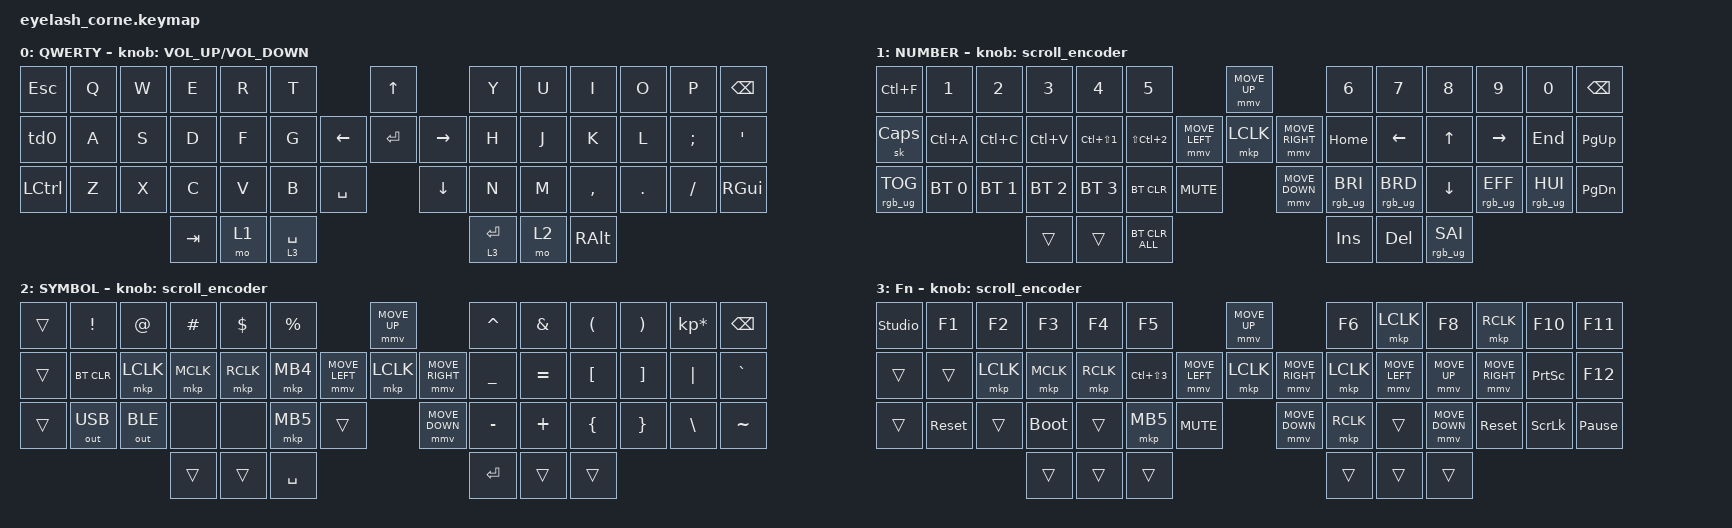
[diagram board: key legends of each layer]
#define ZMK_POINTING_DEFAULT_MOVE_VAL 1200  // 600
#define ZMK_POINTING_DEFAULT_SCRL_VAL 25   // 10

#include <input/processors.dtsi>
#include <zephyr/dt-bindings/input/input-event-codes.h>
#include <behaviors.dtsi>
#include <dt-bindings/zmk/bt.h>
#include <dt-bindings/zmk/keys.h>
#include <dt-bindings/zmk/outputs.h>
#include <dt-bindings/zmk/pointing.h>
#include <dt-bindings/zmk/rgb.h>

&mmv_input_listener { input-processors = <&zip_xy_scaler 2 1>; };

&msc_input_listener { input-processors = <&zip_scroll_scaler 2 1>; };

&msc {
    acceleration-exponent = <1>;      // 0
    time-to-max-speed-ms = <100>;       // 300
    delay-ms = <0>;                   // 0
};

&mmv {
    time-to-max-speed-ms = <500>;
    acceleration-exponent = <1>;
    trigger-period-ms = <16>;
};

&soft_off { hold-time-ms = <2000>; };

/ {
    behaviors {
        td0: td0 {
            compatible = "zmk,behavior-tap-dance";
            display-name = "Shift/Caps Lock Tap Dance";
            #binding-cells = <0>;
            bindings = <&kp LEFT_SHIFT>, <&kp CAPS>;
        };
    };

    rgb_encoder: rgb_encoder {
        compatible = "zmk,behavior-sensor-rotate";
        #sensor-binding-cells = <0>;
        bindings = <&rgb_ug RGB_BRI>, <&rgb_ug RGB_BRD>;
    };

    scroll_encoder: scroll_encoder {
        compatible = "zmk,behavior-sensor-rotate";
        #sensor-binding-cells = <0>;
        bindings = <&msc SCRL_DOWN>, <&msc SCRL_UP>;

        tap-ms = <100>;
    };

    combos {
        compatible = "zmk,combos";

        softoff {
            bindings = <&soft_off>;
            key-positions = <1 15 29>;
        };
    };

    keymap {
        compatible = "zmk,keymap";

        default_layer {
            display-name = "QWERTY";
            bindings = <
&kp ESC    &kp Q  &kp W  &kp E    &kp R  &kp T                               &kp UP                &kp Y        &kp U  &kp I      &kp O    &kp P     &kp BSPC
&td0       &kp A  &kp S  &kp D    &kp F  &kp G                     &kp LEFT  &kp ENTER  &kp RIGHT  &kp H        &kp J  &kp K      &kp L    &kp SEMI  &kp SQT
&kp LCTRL  &kp Z  &kp X  &kp C    &kp V  &kp B        &kp SPACE              &kp DOWN              &kp N        &kp M  &kp COMMA  &kp DOT  &kp FSLH  &kp RIGHT_GUI
                         &kp TAB  &mo 1  &lt 3 SPACE                                               &lt 3 ENTER  &mo 2  &kp RALT
            >;

            sensor-bindings = <&inc_dec_kp C_VOLUME_UP C_VOLUME_DOWN>;
        };

        lower_layer {
            display-name = "NUMBER";
            bindings = <
&kp LC(F)        &kp N1        &kp N2        &kp N3        &kp N4                &kp N5                                              &mmv MOVE_UP                     &kp N6           &kp N7           &kp N8           &kp N9           &kp N0           &kp BSPC
&sk CLCK         &kp LC(A)     &kp LC(C)     &kp LC(V)     &kp LC(LS(NUMBER_1))  &kp LS(LC(NUMBER_2))                &mmv MOVE_LEFT  &mkp LCLK       &mmv MOVE_RIGHT  &kp HOME         &kp LEFT         &kp UP           &kp RIGHT        &kp END          &kp PG_UP
&rgb_ug RGB_TOG  &bt BT_SEL 0  &bt BT_SEL 1  &bt BT_SEL 2  &bt BT_SEL 3          &bt BT_CLR            &kp C_MUTE                    &mmv MOVE_DOWN                   &rgb_ug RGB_BRI  &rgb_ug RGB_BRD  &kp DOWN         &rgb_ug RGB_EFF  &rgb_ug RGB_HUI  &kp PG_DN
                                             &trans        &trans                &bt BT_CLR_ALL                                                                       &kp INS          &kp DEL          &rgb_ug RGB_SAI
            >;

            sensor-bindings = <&scroll_encoder>;
        };

        raise_layer {
            display-name = "SYMBOL";
            bindings = <
&trans  &kp EXCL      &kp AT        &kp HASH   &kp DLLR   &kp PRCNT                            &mmv MOVE_UP                     &kp CARET  &kp AMPS   &kp LEFT_PARENTHESIS  &kp RIGHT_PARENTHESIS  &kp KP_ASTERISK  &kp BSPC
&trans  &bt BT_CLR    &mkp LCLK     &mkp MCLK  &mkp RCLK  &mkp MB4             &mmv MOVE_LEFT  &mkp LCLK       &mmv MOVE_RIGHT  &kp UNDER  &kp EQUAL  &kp LBKT              &kp RBKT               &kp PIPE         &kp GRAVE
&trans  &out OUT_USB  &out OUT_BLE  &none      &none      &mkp MB5   &trans                    &mmv MOVE_DOWN                   &kp MINUS  &kp PLUS   &kp LBRC              &kp RBRC               &kp BACKSLASH    &kp TILDE
                                    &trans     &trans     &kp SPACE                                                             &kp RET    &trans     &trans
            >;

            sensor-bindings = <&scroll_encoder>;
        };

        layer_3 {
            display-name = "Fn";
            bindings = <
&studio_unlock  &kp F1      &kp F2     &kp F3       &kp F4     &kp F5                                              &mmv MOVE_UP                     &kp F6     &mkp LCLK       &kp F8          &mkp RCLK        &kp F10          &kp F11
&trans          &trans      &mkp LCLK  &mkp MCLK    &mkp RCLK  &kp LC(LS(NUMBER_3))                &mmv MOVE_LEFT  &mkp LCLK       &mmv MOVE_RIGHT  &mkp LCLK  &mmv MOVE_LEFT  &mmv MOVE_UP    &mmv MOVE_RIGHT  &kp PRINTSCREEN  &kp F12
&trans          &sys_reset  &trans     &bootloader  &trans     &mkp MB5              &kp C_MUTE                    &mmv MOVE_DOWN                   &mkp RCLK  &trans          &mmv MOVE_DOWN  &sys_reset       &kp SCROLLLOCK   &kp PAUSE_BREAK
                                       &trans       &trans     &trans                                                                               &trans     &trans          &trans
            >;

            sensor-bindings = <&scroll_encoder>;
        };
    };
};
